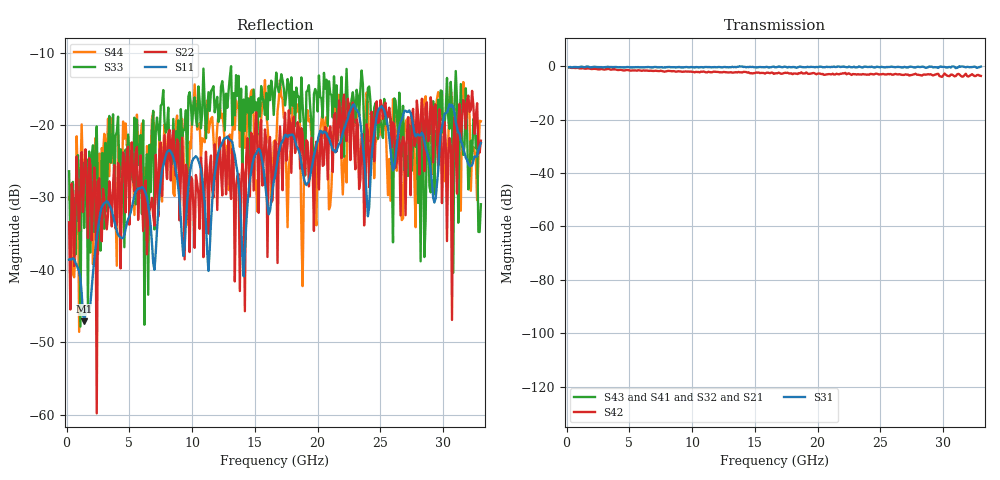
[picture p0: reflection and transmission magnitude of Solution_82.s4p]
# GHZ S RI R 50
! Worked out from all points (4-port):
!   329 points, 200 MHz to 33 GHz, reference 50 ohm
!   strongest paths, dB at 200 MHz, 8.4 GHz, 16.6 GHz, 24.8 GHz, 33 GHz:
!     S31: -0.4, -0.4, -0.4, -0.3, -0.2
!     S42: -0.5, -1.9, -2.7, -3.0, -3.6
!     S43: -, -, -, -, -
!     S41: -, -, -, -, -
!     S32: -, -, -, -, -
!     S21: -, -, -, -, -
!   lowest |S11| = -47.1 dB at 1.4 GHz (marker M1), VSWR 1.01, Z = 50.4 + j0.0408 ohm
!   |S11| at or under -10 dB: start of sweep to end of sweep
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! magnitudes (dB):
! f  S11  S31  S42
! 200 MHz  -38.6  -0.4  -0.5
! 1.4 GHz  -47.1  -0.4  -0.9
! 2.3 GHz  -37.1  -0.3  -1.0
! 2.4 GHz  -35.6  -0.3  -1.1
! 2.5 GHz  -34.3  -0.3  -1.2
! 5.2 GHz  -31.3  -0.5  -1.6
! 33 GHz  -22.5  -0.2  -3.6
